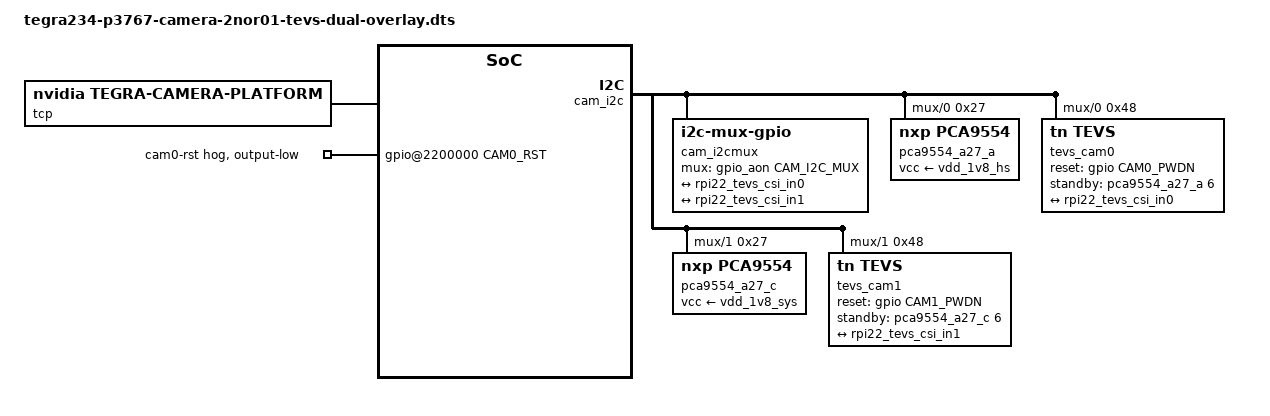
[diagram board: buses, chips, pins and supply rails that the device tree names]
// SPDX-License-Identifier: GPL-2.0-only
// SPDX-FileCopyrightText: Copyright (c) 2023, NVIDIA CORPORATION & AFFILIATES. All rights reserved.

/dts-v1/;
/plugin/;

#define CAM0_RST    	TEGRA234_MAIN_GPIO(H, 3)
#define CAM0_PWDN		TEGRA234_MAIN_GPIO(H, 6)
#define CAM1_PWDN		TEGRA234_MAIN_GPIO(AC, 0)

#define CAM_I2C_MUX 	TEGRA234_AON_GPIO(CC, 3)

#define CAM_LANES 4
#define CAM_LANES_STRING "4"

#include <dt-bindings/tegra234-p3767-0000-common.h>

/ {
	overlay-name = "TechNexion Camera TEVS Dual";
	jetson-header-name = "Jetson 24pin CSI Connector";

	fragment-camera-tevs@0 {
		target-path = "/";
		__overlay__ {
			tegra-capture-vi  {
				num-channels = <2>;

				ports {
					#address-cells = <1>;
					#size-cells = <0>;

					port@0 {
						reg = <0>;

						rpi22_tevs_vi_in0: endpoint {
							port-index = <0>;
							bus-width = <CAM_LANES>;
							remote-endpoint = <&rpi22_tevs_csi_out0>;
						};
					};

					port@1 {
						reg = <1>;

						rpi22_tevs_vi_in1: endpoint {
							port-index = <2>;
							bus-width = <CAM_LANES>;
							remote-endpoint = <&rpi22_tevs_csi_out1>;
						};
					};
				};
			};

			tcp: tegra-camera-platform {
				compatible = "nvidia, tegra-camera-platform";
				/**
				* Physical settings to calculate max ISO BW
				*
				* num_csi_lanes = <>;
				* Total number of CSI lanes when all cameras are active
				*
				* max_lane_speed = <>;
				* Max lane speed in Kbit/s
				*
				* min_bits_per_pixel = <>;
				* Min bits per pixel
				*
				* vi_peak_byte_per_pixel = <>;
				* Max byte per pixel for the VI ISO case
				*
				* vi_bw_margin_pct = <>;
				* Vi bandwidth margin in percentage
				*
				* max_pixel_rate = <>;
				* Max pixel rate in Kpixel/s for the ISP ISO case
				*
				* isp_peak_byte_per_pixel = <>;
				* Max byte per pixel for the ISP ISO case
				*
				* isp_bw_margin_pct = <>;
				* Isp bandwidth margin in percentage
				*/
				num_csi_lanes = <8>;
				max_lane_speed = <1500000>;
				min_bits_per_pixel = <10>;
				vi_peak_byte_per_pixel = <2>;
				vi_bw_margin_pct = <25>;
				max_pixel_rate = <240000>;
				isp_peak_byte_per_pixel = <5>;
				isp_bw_margin_pct = <25>;
				/**
				 * The general guideline for naming badge_info contains 3 parts, and is as follows,
				 * The first part is the camera_board_id for the module; if the module is in a FFD
				 * platform, then use the platform name for this part.
				 * The second part contains the position of the module, ex. "rear" or "front".
				 * The third part contains the last 6 characters of a part number which is found
				 * in the module's specsheet from the vendor.
				 */
				modules {
					module0 {
						badge = "jakku_front_RBP194";
						position = "front";
						orientation = "1";
						drivernode0 {
							pcl_id = "v4l2_sensor";
							sysfs-device-tree = "/sys/firmware/devicetree/base/bus@0/cam_i2cmux/i2c@0/rpi22_tevs_a@48";
						};
					};
					module1 {
						badge = "jakku_rear_RBP194";
						position = "rear";
						orientation = "1";
						drivernode0 {
							pcl_id = "v4l2_sensor";
							sysfs-device-tree = "/sys/firmware/devicetree/base/bus@0/cam_i2cmux/i2c@1/rpi22_tevs_c@48";
						};
					};
				};
			};

			bus@0 {
				host1x@13e00000 {
					nvcsi@15a00000 {
						num-channels = <2>;
						#address-cells = <1>;
						#size-cells = <0>;
						channel@0 {
							reg = <0>;
							ports {
								#address-cells = <1>;
								#size-cells = <0>;

								port@0 {
									reg = <0>;
									rpi22_tevs_csi_in0: endpoint@0 {
										port-index = <0>;
										bus-width = <CAM_LANES>;
										remote-endpoint = <&rpi22_tevs_out0>;
									};
								};

								port@1 {
									reg = <1>;
									rpi22_tevs_csi_out0: endpoint@1 {
										remote-endpoint = <&rpi22_tevs_vi_in0>;
									};
								};
							};
						};

						channel@1 {
							reg = <1>;
							ports {
								#address-cells = <1>;
								#size-cells = <0>;

								port@0 {
									reg = <0>;
									rpi22_tevs_csi_in1: endpoint@2 {
										port-index = <2>;
										bus-width = <CAM_LANES>;
										remote-endpoint = <&rpi22_tevs_out1>;
									};
								};

								port@1 {
									reg = <1>;
									rpi22_tevs_csi_out1: endpoint@3 {
										remote-endpoint = <&rpi22_tevs_vi_in1>;
									};
								};
							};
						};
					};
				};

				gpio@2200000 {
					camera-control-output-low {
						gpio-hog;
						output-low;
						gpios = <CAM0_RST 0>;
						label = "cam0-rst";
					};
				};

				cam_i2cmux{
					status = "okay";
					compatible = "i2c-mux-gpio";
					#address-cells = <1>;
					#size-cells = <0>;
					i2c-parent = <&cam_i2c>;
					mux-gpios = <&gpio_aon CAM_I2C_MUX GPIO_ACTIVE_HIGH>;

					i2c@0 {
						status = "okay";
						reg = <0>;
						#address-cells = <1>;
						#size-cells = <0>;

						rbpcv2_imx219_a@10 {
							status = "disabled";
						};

						pca9554_a27_a: pca9554_a@27 {
							compatible = "nxp,pca9554";
							reg = <0x27>;
							gpio-controller;
							#gpio-cells = <2>;
							vcc-supply = <&vdd_1v8_hs>;
							vcc_lp = "vcc";
							status = "okay";
						};

						tevs_cam0: rpi22_tevs_a@48 {
							status = "okay";
							compatible = "tn,tevs";
							/* I2C device address */
							reg = <0x48>;

							reset-gpios = <&gpio CAM0_PWDN GPIO_ACTIVE_HIGH>;
							standby-gpios = <&pca9554_a27_a 6 GPIO_ACTIVE_HIGH>;
							data-lanes = <CAM_LANES>;
							data-frequency = <800>;

							/* V4L2 device node location */
							devnode = "video0";
							/* Physical dimensions of sensor */
							physical_w = "3.680";
							physical_h = "2.760";
							sensor_model = "tevs";
							use_sensor_mode_id = "false";
							/* Modes */
							mode0 { /* TEVS_MODE_3280x2464_21FPS */
								mclk_khz = "24000";
								num_lanes = CAM_LANES_STRING;
								tegra_sinterface = "serial_b";
								lane_polarity = "6";
								phy_mode = "DPHY";
								discontinuous_clk = "yes";
								dpcm_enable = "false";
								cil_settletime = "0";

								active_w = "3280";
								active_h = "2464";
								mode_type = "yuv";
								pixel_phase = "uyvy";
								csi_pixel_bit_depth = "16";
								readout_orientation = "90";
								line_length = "3448";
								inherent_gain = "1";
								mclk_multiplier = "9.33";
								pix_clk_hz = "200000000";

								gain_factor = "16";
								framerate_factor = "1000000";
								exposure_factor = "1000000";
								min_gain_val = "16"; /* 1.00x */
								max_gain_val = "170"; /* 10.66x */
								step_gain_val = "1";
								default_gain = "16"; /* 1.00x */
								min_hdr_ratio = "1";
								max_hdr_ratio = "1";
								min_framerate = "2000000"; /* 2.0 fps */
								max_framerate = "21000000"; /* 21.0 fps */
								step_framerate = "1";
								default_framerate = "21000000"; /* 21.0 fps */
								min_exp_time = "13"; /* us */
								max_exp_time = "683709"; /* us */
								step_exp_time = "1";
								default_exp_time = "2495"; /* us */
								embedded_metadata_height = "0";
							};
							mode1 { /* TEVS_MODE_3280x1848_28FPS */
								mclk_khz = "24000";
								num_lanes = CAM_LANES_STRING;
								tegra_sinterface = "serial_b";
								lane_polarity = "6";
								phy_mode = "DPHY";
								discontinuous_clk = "yes";
								dpcm_enable = "false";
								cil_settletime = "0";

								active_w = "3280";
								active_h = "1848";
								mode_type = "yuv";
								pixel_phase = "uyvy";
								csi_pixel_bit_depth = "16";
								readout_orientation = "90";
								line_length = "3448";
								inherent_gain = "1";
								mclk_multiplier = "9.33";
								pix_clk_hz = "200000000";

								gain_factor = "16";
								framerate_factor = "1000000";
								exposure_factor = "1000000";
								min_gain_val = "16"; /* 1.00x */
								max_gain_val = "170"; /* 10.66x */
								step_gain_val = "1";
								default_gain = "16"; /* 1.00x */
								min_hdr_ratio = "1";
								max_hdr_ratio = "1";
								min_framerate = "2000000"; /* 2.0 fps */
								max_framerate = "28000000"; /* 28.0 fps */
								step_framerate = "1";
								default_framerate = "28000000"; /* 28.0 fps */
								min_exp_time = "13"; /* us */
								max_exp_time = "683709"; /* us */
								step_exp_time = "1";
								default_exp_time = "2495"; /* us */
								embedded_metadata_height = "0";
							};
							mode2 { /* TEVS_MODE_1920x1080_30FPS */
								mclk_khz = "24000";
								num_lanes = CAM_LANES_STRING;
								tegra_sinterface = "serial_b";
								lane_polarity = "6";
								phy_mode = "DPHY";
								discontinuous_clk = "yes";
								dpcm_enable = "false";
								cil_settletime = "0";

								active_w = "1920";
								active_h = "1080";
								mode_type = "yuv";
								pixel_phase = "uyvy";
								csi_pixel_bit_depth = "16";
								readout_orientation = "90";
								line_length = "3448";
								inherent_gain = "1";
								mclk_multiplier = "9.33";
								pix_clk_hz = "200000000";

								gain_factor = "16";
								framerate_factor = "1000000";
								exposure_factor = "1000000";
								min_gain_val = "16"; /* 1.00x */
								max_gain_val = "170"; /* 10.66x */
								step_gain_val = "1";
								default_gain = "16"; /* 1.00x */
								min_hdr_ratio = "1";
								max_hdr_ratio = "1";
								min_framerate = "2000000"; /* 2.0 fps */
								max_framerate = "30000000"; /* 30.0 fps */
								step_framerate = "1";
								default_framerate = "30000000"; /* 30.0 fps */
								min_exp_time = "13"; /* us */
								max_exp_time = "683709"; /* us */
								step_exp_time = "1";
								default_exp_time = "2495"; /* us */
								embedded_metadata_height = "0";
							};
							mode3 { /* TEVS_MODE_1640x1232_30FPS */
								mclk_khz = "24000";
								num_lanes = CAM_LANES_STRING;
								tegra_sinterface = "serial_b";
								lane_polarity = "6";
								phy_mode = "DPHY";
								discontinuous_clk = "yes";
								dpcm_enable = "false";
								cil_settletime = "0";

								active_w = "1640";
								active_h = "1232";
								mode_type = "yuv";
								pixel_phase = "uyvy";
								csi_pixel_bit_depth = "16";
								readout_orientation = "90";
								line_length = "3448";
								inherent_gain = "1";
								mclk_multiplier = "9.33";
								pix_clk_hz = "200000000";

								gain_factor = "16";
								framerate_factor = "1000000";
								exposure_factor = "1000000";
								min_gain_val = "16"; /* 1.00x */
								max_gain_val = "170"; /* 10.66x */
								step_gain_val = "1";
								default_gain = "16"; /* 1.00x */
								min_hdr_ratio = "1";
								max_hdr_ratio = "1";
								min_framerate = "2000000"; /* 2.0 fps */
								max_framerate = "30000000"; /* 60.0 fps */
								step_framerate = "1";
								default_framerate = "30000000"; /* 60.0 fps */
								min_exp_time = "13"; /* us */
								max_exp_time = "683709"; /* us */
								step_exp_time = "1";
								default_exp_time = "2495"; /* us */
								embedded_metadata_height = "0";
							};
							mode4 { /* TEVS_MODE_1280x720_60FPS */
								mclk_khz = "24000";
								num_lanes = CAM_LANES_STRING;
								tegra_sinterface = "serial_b";
								lane_polarity = "6";
								phy_mode = "DPHY";
								discontinuous_clk = "yes";
								dpcm_enable = "false";
								cil_settletime = "0";

								active_w = "1280";
								active_h = "720";
								mode_type = "yuv";
								pixel_phase = "uyvy";
								csi_pixel_bit_depth = "16";
								readout_orientation = "90";
								line_length = "3448";
								inherent_gain = "1";
								mclk_multiplier = "9.33";
								pix_clk_hz = "200000000";

								gain_factor = "16";
								framerate_factor = "1000000";
								exposure_factor = "1000000";
								min_gain_val = "16"; /* 1.00x */
								max_gain_val = "170"; /* 10.66x */
								step_gain_val = "1";
								default_gain = "16"; /* 1.00x */
								min_hdr_ratio = "1";
								max_hdr_ratio = "1";
								min_framerate = "2000000"; /* 2.0 fps */
								max_framerate = "60000000"; /* 60.0 fps */
								step_framerate = "1";
								default_framerate = "60000000"; /* 60.0 fps */
								min_exp_time = "13"; /* us */
								max_exp_time = "683709"; /* us */
								step_exp_time = "1";
								default_exp_time = "2495"; /* us */
								embedded_metadata_height = "0";
							};
							mode5 { /* TEVS_MODE_640x480_60FPS */
								mclk_khz = "24000";
								num_lanes = CAM_LANES_STRING;
								tegra_sinterface = "serial_b";
								lane_polarity = "6";
								phy_mode = "DPHY";
								discontinuous_clk = "yes";
								dpcm_enable = "false";
								cil_settletime = "0";

								active_w = "640";
								active_h = "480";
								mode_type = "yuv";
								pixel_phase = "uyvy";
								csi_pixel_bit_depth = "16";
								readout_orientation = "90";
								line_length = "3448";
								inherent_gain = "1";
								mclk_multiplier = "9.33";
								pix_clk_hz = "200000000";

								gain_factor = "16";
								framerate_factor = "1000000";
								exposure_factor = "1000000";
								min_gain_val = "16"; /* 1.00x */
								max_gain_val = "170"; /* 10.66x */
								step_gain_val = "1";
								default_gain = "16"; /* 1.00x */
								min_hdr_ratio = "1";
								max_hdr_ratio = "1";
								min_framerate = "2000000"; /* 2.0 fps */
								max_framerate = "60000000"; /* 60.0 fps */
								step_framerate = "1";
								default_framerate = "60000000"; /* 60.0 fps */
								min_exp_time = "13"; /* us */
								max_exp_time = "683709"; /* us */
								step_exp_time = "1";
								default_exp_time = "2495"; /* us */
								embedded_metadata_height = "0";
							};
							ports {
								#address-cells = <1>;
								#size-cells = <0>;
								port@0 {
									reg = <0>;
									rpi22_tevs_out0: endpoint {
										port-index = <0>;
										bus-width = <CAM_LANES>;
										remote-endpoint = <&rpi22_tevs_csi_in0>;
									};
								};
							};
						};
					};

					i2c@1 {
						status = "okay";
						reg = <1>;
						#address-cells = <1>;
						#size-cells = <0>;

						rbpcv2_imx219_c@10 {
							status = "disabled";
						};

						pca9554_a27_c: pca9554_c@27 {
							compatible = "nxp,pca9554";
							reg = <0x27>;
							gpio-controller;
							#gpio-cells = <2>;
							vcc-supply = <&vdd_1v8_sys>;
							vcc_lp = "vcc";
							status = "okay";
						};

						tevs_cam1: rpi22_tevs_c@48 {
							status = "okay";
							compatible = "tn,tevs";
							/* I2C device address */
							reg = <0x48>;

							reset-gpios = <&gpio CAM1_PWDN GPIO_ACTIVE_HIGH>;
							standby-gpios = <&pca9554_a27_c 6 GPIO_ACTIVE_HIGH>;
							data-lanes = <CAM_LANES>;
							data-frequency = <800>;

							/* V4L2 device node location */
							devnode = "video1";
							/* Physical dimensions of sensor */
							physical_w = "3.680";
							physical_h = "2.760";
							sensor_model = "tevs";
							use_sensor_mode_id = "false";
							/* Modes */
							mode0 { /* TEVS_MODE_3280x2464_21FPS */
								mclk_khz = "24000";
								num_lanes = CAM_LANES_STRING;
								tegra_sinterface = "serial_c";
								lane_polarity = "0";
								phy_mode = "DPHY";
								discontinuous_clk = "yes";
								dpcm_enable = "false";
								cil_settletime = "0";

								active_w = "3280";
								active_h = "2464";
								mode_type = "yuv";
								pixel_phase = "uyvy";
								csi_pixel_bit_depth = "16";
								readout_orientation = "90";
								line_length = "3448";
								inherent_gain = "1";
								mclk_multiplier = "9.33";
								pix_clk_hz = "200000000";

								gain_factor = "16";
								framerate_factor = "1000000";
								exposure_factor = "1000000";
								min_gain_val = "16"; /* 1.00x */
								max_gain_val = "170"; /* 10.66x */
								step_gain_val = "1";
								default_gain = "16"; /* 1.00x */
								min_hdr_ratio = "1";
								max_hdr_ratio = "1";
								min_framerate = "2000000"; /* 2.0 fps */
								max_framerate = "21000000"; /* 21.0 fps */
								step_framerate = "1";
								default_framerate = "21000000"; /* 21.0 fps */
								min_exp_time = "13"; /* us */
								max_exp_time = "683709"; /* us */
								step_exp_time = "1";
								default_exp_time = "2495"; /* us */
								embedded_metadata_height = "0";
							};
							mode1 { /* TEVS_MODE_3280x1848_28FPS */
								mclk_khz = "24000";
								num_lanes = CAM_LANES_STRING;
								tegra_sinterface = "serial_c";
								lane_polarity = "0";
								phy_mode = "DPHY";
								discontinuous_clk = "yes";
								dpcm_enable = "false";
								cil_settletime = "0";

								active_w = "3280";
								active_h = "1848";
								mode_type = "yuv";
								pixel_phase = "uyvy";
								csi_pixel_bit_depth = "16";
								readout_orientation = "90";
								line_length = "3448";
								inherent_gain = "1";
								mclk_multiplier = "9.33";
								pix_clk_hz = "200000000";

								gain_factor = "16";
								framerate_factor = "1000000";
								exposure_factor = "1000000";
								min_gain_val = "16"; /* 1.00x */
								max_gain_val = "170"; /* 10.66x */
								step_gain_val = "1";
								default_gain = "16"; /* 1.00x */
								min_hdr_ratio = "1";
								max_hdr_ratio = "1";
								min_framerate = "2000000"; /* 2.0 fps */
								max_framerate = "28000000"; /* 28.0 fps */
								step_framerate = "1";
								default_framerate = "28000000"; /* 28.0 fps */
								min_exp_time = "13"; /* us */
								max_exp_time = "683709"; /* us */
								step_exp_time = "1";
								default_exp_time = "2495"; /* us */
								embedded_metadata_height = "0";
							};
							mode2 { /* TEVS_MODE_1920x1080_30FPS */
								mclk_khz = "24000";
								num_lanes = CAM_LANES_STRING;
								tegra_sinterface = "serial_c";
								lane_polarity = "0";
								phy_mode = "DPHY";
								discontinuous_clk = "yes";
								dpcm_enable = "false";
								cil_settletime = "0";

								active_w = "1920";
								active_h = "1080";
								mode_type = "yuv";
								pixel_phase = "uyvy";
								csi_pixel_bit_depth = "16";
								readout_orientation = "90";
								line_length = "3448";
								inherent_gain = "1";
								mclk_multiplier = "9.33";
								pix_clk_hz = "200000000";

								gain_factor = "16";
								framerate_factor = "1000000";
								exposure_factor = "1000000";
								min_gain_val = "16"; /* 1.00x */
								max_gain_val = "170"; /* 10.66x */
								step_gain_val = "1";
								default_gain = "16"; /* 1.00x */
								min_hdr_ratio = "1";
								max_hdr_ratio = "1";
								min_framerate = "2000000"; /* 2.0 fps */
								max_framerate = "30000000"; /* 30.0 fps */
								step_framerate = "1";
								default_framerate = "30000000"; /* 30.0 fps */
								min_exp_time = "13"; /* us */
								max_exp_time = "683709"; /* us */
								step_exp_time = "1";
								default_exp_time = "2495"; /* us */
								embedded_metadata_height = "0";
							};
							mode3 { /* TEVS_MODE_1640x1232_30FPS */
								mclk_khz = "24000";
								num_lanes = CAM_LANES_STRING;
								tegra_sinterface = "serial_c";
								lane_polarity = "0";
								phy_mode = "DPHY";
								discontinuous_clk = "yes";
								dpcm_enable = "false";
								cil_settletime = "0";

								active_w = "1640";
								active_h = "1232";
								mode_type = "yuv";
								pixel_phase = "uyvy";
								csi_pixel_bit_depth = "16";
								readout_orientation = "90";
								line_length = "3448";
								inherent_gain = "1";
								mclk_multiplier = "9.33";
								pix_clk_hz = "200000000";

								gain_factor = "16";
								framerate_factor = "1000000";
								exposure_factor = "1000000";
								min_gain_val = "16"; /* 1.00x */
								max_gain_val = "170"; /* 10.66x */
								step_gain_val = "1";
								default_gain = "16"; /* 1.00x */
								min_hdr_ratio = "1";
								max_hdr_ratio = "1";
								min_framerate = "2000000"; /* 2.0 fps */
								max_framerate = "30000000"; /* 60.0 fps */
								step_framerate = "1";
								default_framerate = "30000000"; /* 60.0 fps */
								min_exp_time = "13"; /* us */
								max_exp_time = "683709"; /* us */
								step_exp_time = "1";
								default_exp_time = "2495"; /* us */
								embedded_metadata_height = "0";
							};
							mode4 { /* TEVS_MODE_1280x720_60FPS */
								mclk_khz = "24000";
								num_lanes = CAM_LANES_STRING;
								tegra_sinterface = "serial_c";
								lane_polarity = "0";
								phy_mode = "DPHY";
								discontinuous_clk = "yes";
								dpcm_enable = "false";
								cil_settletime = "0";

								active_w = "1280";
								active_h = "720";
								mode_type = "yuv";
								pixel_phase = "uyvy";
								csi_pixel_bit_depth = "16";
								readout_orientation = "90";
								line_length = "3448";
								inherent_gain = "1";
								mclk_multiplier = "9.33";
								pix_clk_hz = "200000000";

								gain_factor = "16";
								framerate_factor = "1000000";
								exposure_factor = "1000000";
								min_gain_val = "16"; /* 1.00x */
								max_gain_val = "170"; /* 10.66x */
								step_gain_val = "1";
								default_gain = "16"; /* 1.00x */
								min_hdr_ratio = "1";
								max_hdr_ratio = "1";
								min_framerate = "2000000"; /* 2.0 fps */
								max_framerate = "60000000"; /* 60.0 fps */
								step_framerate = "1";
								default_framerate = "60000000"; /* 60.0 fps */
								min_exp_time = "13"; /* us */
								max_exp_time = "683709"; /* us */
								step_exp_time = "1";
								default_exp_time = "2495"; /* us */
								embedded_metadata_height = "0";
							};
							mode5 { /* TEVS_MODE_640x480_60FPS */
								mclk_khz = "24000";
								num_lanes = CAM_LANES_STRING;
								tegra_sinterface = "serial_c";
								lane_polarity = "0";
								phy_mode = "DPHY";
								discontinuous_clk = "yes";
								dpcm_enable = "false";
								cil_settletime = "0";

								active_w = "640";
								active_h = "480";
								mode_type = "yuv";
								pixel_phase = "uyvy";
								csi_pixel_bit_depth = "16";
								readout_orientation = "90";
								line_length = "3448";
								inherent_gain = "1";
								mclk_multiplier = "9.33";
								pix_clk_hz = "200000000";

								gain_factor = "16";
								framerate_factor = "1000000";
								exposure_factor = "1000000";
								min_gain_val = "16"; /* 1.00x */
								max_gain_val = "170"; /* 10.66x */
								step_gain_val = "1";
								default_gain = "16"; /* 1.00x */
								min_hdr_ratio = "1";
								max_hdr_ratio = "1";
								min_framerate = "2000000"; /* 2.0 fps */
								max_framerate = "60000000"; /* 60.0 fps */
								step_framerate = "1";
								default_framerate = "60000000"; /* 60.0 fps */
								min_exp_time = "13"; /* us */
								max_exp_time = "683709"; /* us */
								step_exp_time = "1";
								default_exp_time = "2495"; /* us */
								embedded_metadata_height = "0";
							};
							ports {
								#address-cells = <1>;
								#size-cells = <0>;
								port@0 {
									reg = <0>;
									rpi22_tevs_out1: endpoint {
										port-index = <2>;
										bus-width = <CAM_LANES>;
										remote-endpoint = <&rpi22_tevs_csi_in1>;
									};
								};
							};
						};
					};
				};
			};
		};
	};
};
